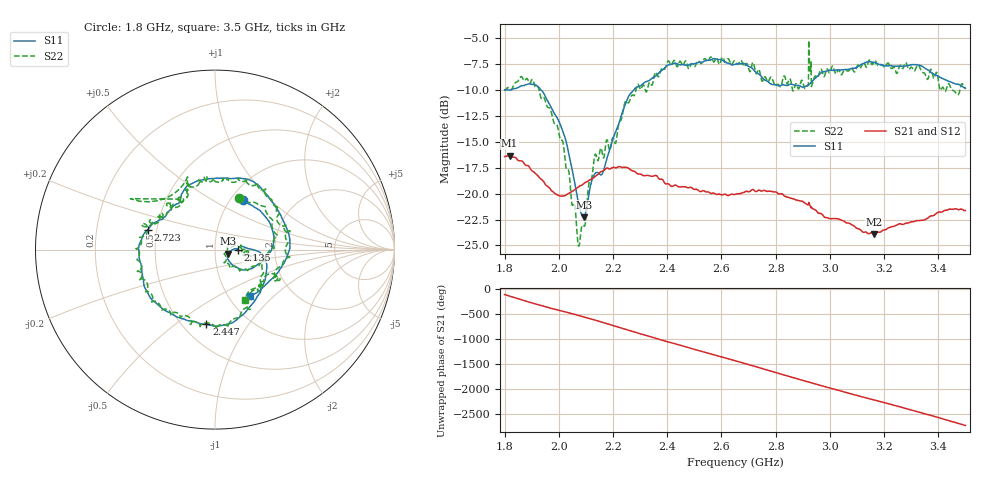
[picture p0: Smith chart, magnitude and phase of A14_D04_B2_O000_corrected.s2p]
! Created with skrf 1.9.0 (http://scikit-rf.org).
# Hz S RI R 50.0
!freq ReS11 ImS11 ReS21 ImS21 ReS12 ImS12 ReS22 ImS22
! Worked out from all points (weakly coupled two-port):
!   1601 points, 1.8 GHz to 3.5 GHz, reference 50 ohm
!   highest |S21| = -16.33 dB at 1.818 GHz (marker M1); lowest = -23.9 dB at 3.163 GHz (marker M2)
!   lowest |S11| = -22.3 dB at 2.092 GHz (marker M3), VSWR 1.17, Z = 57.9 - j2.72 ohm
!   |S11| at or under -10 dB: 1.936 GHz to 2.276 GHz (340 MHz wide, 16.1 % of centre)
!   |S22| runs from -25.1 to -5.2 dB; largest |S21 - S12| = 0.0025
!   S11 on the Smith chart (normalised r, x): 1.8 GHz: 1.13, +0.70; 2.135 GHz: 1.29, +0.00; 2.447 GHz: 0.65, -0.66; 2.723 GHz: 0.45, +0.12; 3.5 GHz: 1.26, -0.72
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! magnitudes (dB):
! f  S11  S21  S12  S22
! 1.8 GHz  -9.9  -16.4  -16.4  -10.0
! 1.818 GHz  -10.0  -16.3  -16.3  -9.9
! 1.902 GHz  -9.4  -17.8  -17.8  -9.0
! 1.967 GHz  -11.4  -19.5  -19.5  -11.7
! 2.023 GHz  -14.6  -20.2  -20.2  -16.8
! 2.071 GHz  -20.7  -19.4  -19.4  -24.9
! 2.084 GHz  -22.0  -19.2  -19.1  -23.3
! 2.092 GHz  -22.3  -19.0  -19.1  -23.1
! 2.135 GHz  -18.0  -18.3  -18.3  -16.2
! 2.162 GHz  -18.0  -17.8  -17.7  -16.4
! 2.209 GHz  -14.1  -17.5  -17.4  -15.1
! 2.26 GHz  -10.5  -17.6  -17.6  -11.1
! 2.367 GHz  -8.4  -18.5  -18.4  -8.7
! 2.447 GHz  -7.5  -19.3  -19.3  -7.2
! 2.65 GHz  -7.5  -20.1  -20.0  -7.2
! 2.723 GHz  -8.2  -19.7  -19.7  -7.9
! 2.812 GHz  -9.6  -20.0  -19.9  -9.5
! 2.934 GHz  -9.2  -21.4  -21.3  -9.5
! 3.163 GHz  -7.3  -23.9  -23.9  -7.2
! 3.217 GHz  -7.6  -23.3  -23.2  -7.4
! 3.331 GHz  -7.6  -22.6  -22.6  -7.7
! 3.5 GHz  -9.8  -21.6  -21.6  -9.7
